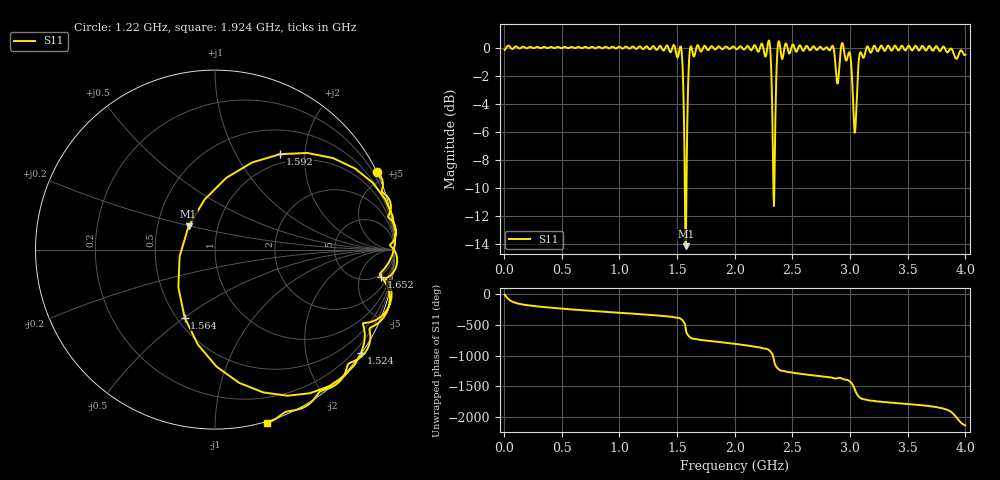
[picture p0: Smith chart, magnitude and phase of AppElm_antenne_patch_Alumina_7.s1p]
! TOUCHSTONE file generated by CST MICROWAVE STUDIO
! Date and time: Thu Jun  9 09:13:17 2022
! Project name: AppElm_antenne_patch_Alumina.cst
! Parameters = {L=30.5; W=41.8; e=0.035; h=1.6; lambda=0.190476; ls=90; w0=1.176; w1=0.373; ws=90; y0=14; y1=10}
! Header version: 2018
! Port assignment regex: !\s*Touchstone port\s*([0-9]+)\s*=\s*(CST MWS port|CST DS port)\s*([0-9]+|Zmin|Zmax)\s*\(\"(.*)\"\)(\s*mode\s*([0-9]+))?.*
! Touchstone port assignment:
! Touchstone port 1 = CST MWS port 1 ("")
# GHz S MA R 50
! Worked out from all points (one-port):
!   1000 points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, 4 MHz to 4 GHz, reference 50 ohm
!   lowest |S11| = -14.1 dB at 1.576 GHz (marker M1), VSWR 1.49, Z = 36.1 + j9.75 ohm
!   |S11| at or under -10 dB: 1.567 GHz to 1.581 GHz (14.05 MHz wide, 0.892 % of centre); 2.335203 GHz to 2.343157 GHz (7.954 MHz wide, 0.34 % of centre)
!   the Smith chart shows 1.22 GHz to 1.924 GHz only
!   S11 on the Smith chart (normalised r, x): 1.22 GHz: 0.01, +4.38; 1.524 GHz: 0.01, -3.13; 1.564 GHz: 0.55, -0.50; 1.592 GHz: 0.85, +1.54; 1.652 GHz: 4, -11; 1.924 GHz: -0.01, -1.34
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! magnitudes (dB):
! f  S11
! 4 MHz  -0.2
! 504 MHz  0.0
! 1.004 GHz  0.0
! 1.22 GHz  0.0
! 1.504 GHz  -0.7
! 1.524 GHz  0.0
! 1.544 GHz  -0.8
! 1.564 GHz  -7.6
! 1.576 GHz  -14.1
! 1.592 GHz  -3.8
! 1.612 GHz  -0.1
! 1.652 GHz  -0.6
! 1.924 GHz  0.1
! 2.004 GHz  0.0
! 2.292 GHz  0.5
! 2.304 GHz  0.2
! 2.328 GHz  -5.9
! 2.34 GHz  -11.3
! 2.38 GHz  0.4
! 2.504 GHz  0.2
! 2.84 GHz  0.0
! 2.892 GHz  -2.6
! 2.936 GHz  0.3
! 3.004 GHz  -0.7
! 3.04 GHz  -6.1
! 3.096 GHz  -0.4
! 3.504 GHz  0.1
! 4 GHz  -0.5
